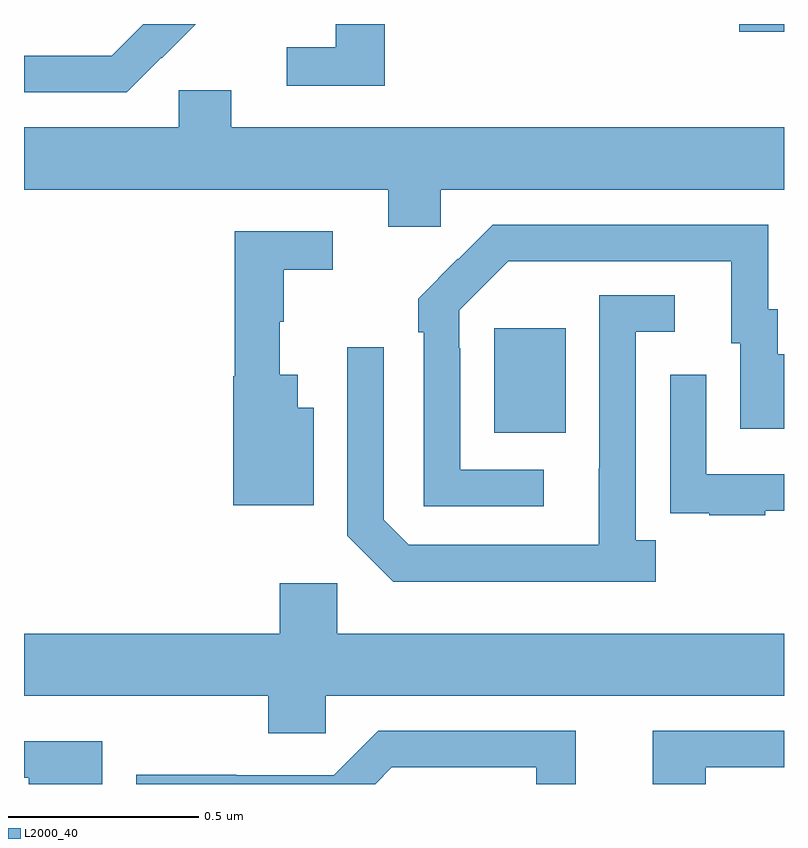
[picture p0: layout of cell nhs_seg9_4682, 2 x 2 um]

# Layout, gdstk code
import gdstk
lib = gdstk.Library(unit=1e-6, precision=1e-09)
def R(c, l, rs):  # rectangles x0, y0, x1, y1
    for r in rs: c.add(gdstk.rectangle(r[:2], r[2:], *l))
def P(c, l, *ps):  # polygons
    for p in ps: c.add(gdstk.Polygon(p, *l))
L2000_40 = (2000, 40)

nhs_seg9_4682 = lib.new_cell('nhs_seg9_4682')
R(nhs_seg9_4682, L2000_40, [(170.237,1218.425,170.425,1218.7), (170.882,1219.479,171,1219.5)])
P(nhs_seg9_4682, L2000_40, [(169.949,1219.5),(169.821,1219.5),(169.821,1219.439),(169.692,1219.439),(169.692,1219.338),(169.949,1219.338)],
  [(169.361,1219.411),(169.362,1219.41),(169.452,1219.5),(169.314,1219.5),(169.231,1219.417),(169.127,1219.417),(169.127,1219.416),(169,1219.416),(169,1219.32),(169.27,1219.32)],
  [(170.097,1219.064),(171,1219.064),(171,1219.228),(169.546,1219.228),(169.546,1219.326),(169.407,1219.326),(169.407,1219.228),(169,1219.228),(169,1219.064),(169.958,1219.064),(169.958,1218.966),(170.097,1218.966)],
  [(170.368,1218.327),(170.148,1218.327),(170.148,1218.647),(170.145,1218.647),(170.145,1218.747),(170.274,1218.876),(170.861,1218.876),(170.861,1218.66),(170.885,1218.66),(170.885,1218.435),(171,1218.435),(171,1218.631),(170.983,1218.631),(170.983,1218.75),(170.958,1218.75),(170.958,1218.972),(170.234,1218.972),(170.143,1218.881),(170.142,1218.882),(170.037,1218.777),(170.037,1218.689),(170.052,1218.689),(170.052,1218.231),(170.368,1218.231)],
  [(169.762,1218.49),(169.72,1218.49),(169.72,1218.577),(169.673,1218.577),(169.673,1218.717),(169.684,1218.717),(169.684,1218.853),(169.813,1218.853),(169.813,1218.954),(169.555,1218.954),(169.555,1218.573),(169.55,1218.573),(169.55,1218.233),(169.762,1218.233)],
  [(170.662,1218.142),(170.61,1218.142),(170.61,1218.69),(170.713,1218.69),(170.713,1218.786),(170.514,1218.786),(170.514,1218.329),(170.513,1218.329),(170.513,1218.129),(170.013,1218.129),(169.947,1218.195),(169.947,1218.649),(169.851,1218.649),(169.851,1218.153),(169.972,1218.032),(170.662,1218.032)],
  [(170.951,1218.219),(171,1218.219),(171,1218.315),(170.796,1218.315),(170.796,1218.577),(170.7,1218.577),(170.7,1218.322),(170.701,1218.322),(170.701,1218.213),(170.803,1218.213),(170.803,1218.207),(170.951,1218.207)],
  [(169.673,1218.028),(169.673,1217.896),(169,1217.896),(169,1217.732),(169.643,1217.732),(169.643,1217.634),(169.794,1217.634),(169.794,1217.732),(171,1217.732),(171,1217.896),(169.824,1217.896),(169.824,1218.028)],
  [(169.968,1217.544),(170.348,1217.544),(170.348,1217.5),(170.452,1217.5),(170.452,1217.64),(169.932,1217.64),(169.815,1217.523),(169.559,1217.523),(169.559,1217.525),(169.296,1217.525),(169.296,1217.5),(169.924,1217.5)],
  [(170.794,1217.544),(171,1217.544),(171,1217.64),(170.654,1217.64),(170.654,1217.5),(170.794,1217.5)],
  [(169.206,1217.613),(169,1217.613),(169,1217.517),(169.013,1217.517),(169.013,1217.5),(169.206,1217.5)])

lib.write_gds('nhs_seg9_4682.gds')
